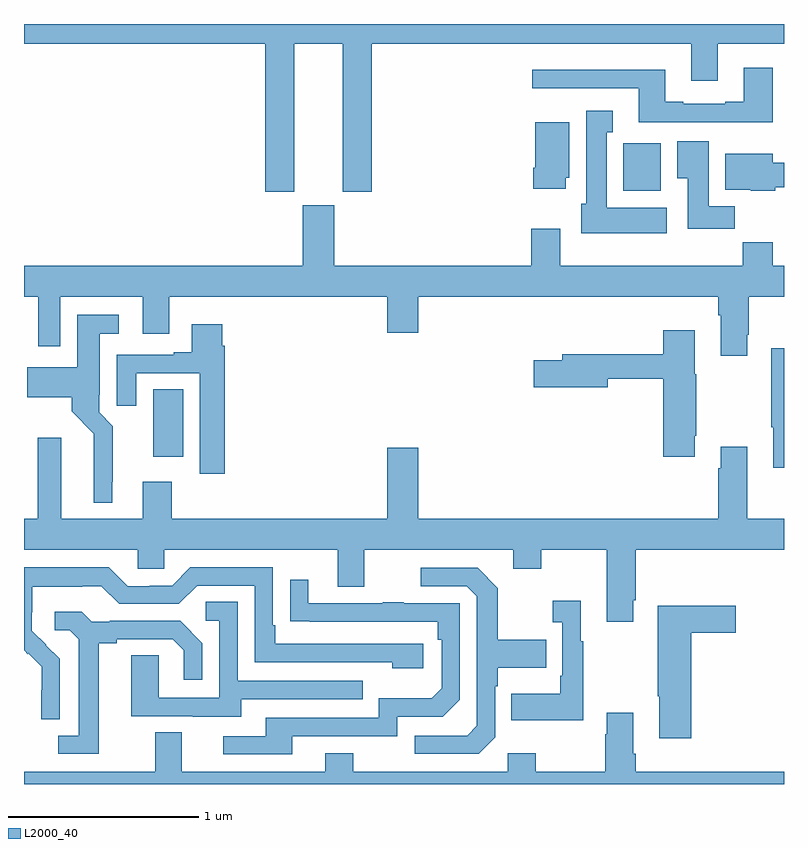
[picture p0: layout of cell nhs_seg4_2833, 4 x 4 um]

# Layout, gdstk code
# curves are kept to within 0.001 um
import gdstk
lib = gdstk.Library(unit=1e-6, precision=1e-09)
def R(c, l, rs):  # rectangles x0, y0, x1, y1
    for r in rs: c.add(gdstk.rectangle(r[:2], r[2:], *l))
def P(c, l, *ps):  # polygons
    for p in ps: c.add(gdstk.Polygon(p, *l))
L2000_40 = (2000, 40)

nhs_seg4_2833 = lib.new_cell('nhs_seg4_2833')
R(nhs_seg4_2833, L2000_40, [(259.679,818.622,259.837,818.978), (262.155,820.022,262.351,820.272)])
P(nhs_seg4_2833, L2000_40, [(260.422,820.796),(260.678,820.796),(260.678,820.017),(260.831,820.017),(260.831,820.796),(262.511,820.796),(262.511,820.602),(262.651,820.602),(262.651,820.796),(263,820.796),(263,820.9),(259,820.9),(259,820.796),(260.27,820.796),(260.27,820.017),(260.422,820.017)],
  [(262.94,820.669),(262.787,820.669),(262.787,820.492),(262.691,820.492),(262.691,820.479),(262.471,820.479),(262.471,820.492),(262.375,820.492),(262.375,820.66),(261.675,820.66),(261.675,820.563),(262.235,820.563),(262.235,820.383),(262.695,820.383),(262.695,820.382),(262.94,820.382)],
  [(262.384,819.934),(262.066,819.934),(262.066,820.331),(262.099,820.331),(262.099,820.444),(261.959,820.444),(261.959,819.954),(261.932,819.954),(261.932,819.8),(262.384,819.8)],
  [(261.85,820.092),(261.871,820.092),(261.871,820.384),(261.692,820.384),(261.692,820.144),(261.68,820.144),(261.68,820.032),(261.85,820.032)],
  [(262.742,819.94),(262.603,819.94),(262.603,820.282),(262.439,820.282),(262.439,820.088),(262.493,820.088),(262.493,819.822),(262.742,819.822)],
  [(262.955,820.041),(263,820.041),(263,820.169),(262.942,820.169),(262.942,820.216),(262.691,820.216),(262.691,820.028),(262.824,820.028),(262.824,820.022),(262.955,820.022)],
  [(262.807,819.265),(262.815,819.265),(262.815,819.464),(263,819.464),(263,819.628),(262.94,819.628),(262.94,819.752),(262.783,819.752),(262.783,819.628),(261.823,819.628),(261.823,819.823),(261.671,819.823),(261.671,819.628),(260.632,819.628),(260.632,819.945),(260.468,819.945),(260.468,819.628),(259,819.628),(259,819.464),(259.075,819.464),(259.075,819.204),(259.191,819.204),(259.191,819.464),(259.625,819.464),(259.625,819.27),(259.765,819.27),(259.765,819.464),(260.912,819.464),(260.912,819.276),(261.076,819.276),(261.076,819.464),(262.655,819.464),(262.655,819.368),(262.667,819.368),(262.667,819.153),(262.807,819.153)],
  [(259.465,818.491),(259.468,818.491),(259.468,818.783),(259.395,818.856),(259.395,818.95),(259.399,818.95),(259.399,819.269),(259.498,819.269),(259.498,819.37),(259.28,819.37),(259.28,819.094),(259.017,819.094),(259.017,818.936),(259.25,818.936),(259.25,818.862),(259.368,818.744),(259.367,818.381),(259.465,818.381)],
  [(260.057,819.206),(260.044,819.206),(260.044,819.319),(259.883,819.319),(259.883,819.172),(259.787,819.172),(259.787,819.159),(259.487,819.159),(259.487,818.892),(259.591,818.892),(259.591,819.063),(259.925,819.063),(259.925,818.532),(260.057,818.532)],
  [(262.531,818.734),(262.539,818.734),(262.539,819.057),(262.531,819.057),(262.531,819.289),(262.364,819.289),(262.364,819.163),(261.833,819.163),(261.833,819.129),(261.684,819.129),(261.684,818.987),(262.072,818.987),(262.072,819.034),(262.364,819.034),(262.364,818.622),(262.531,818.622)],
  [(263,819.193),(262.932,819.193),(262.932,818.777),(262.943,818.777),(262.943,818.565),(263,818.565)],
  [(262.207,817.867),(262.22,817.867),(262.22,818.132),(263,818.132),(263,818.296),(262.807,818.296),(262.807,818.674),(262.667,818.674),(262.667,818.561),(262.655,818.561),(262.655,818.296),(261.076,818.296),(261.076,818.671),(260.912,818.671),(260.912,818.296),(259.778,818.296),(259.778,818.491),(259.625,818.491),(259.625,818.296),(259.195,818.296),(259.195,818.722),(259.073,818.722),(259.073,818.296),(259,818.296),(259,818.132),(259.599,818.132),(259.599,818.034),(259.737,818.034),(259.737,818.132),(260.651,818.132),(260.651,817.938),(260.791,817.938),(260.791,818.132),(261.575,818.132),(261.575,818.033),(261.723,818.033),(261.723,818.132),(262.067,818.132),(262.067,817.755),(262.207,817.755)],
  [(259.188,817.558),(259.042,817.706),(259.042,817.803),(259.044,817.803),(259.044,817.937),(259.307,817.937),(259.307,817.941),(259.407,817.941),(259.5,817.848),(259.815,817.848),(259.911,817.944),(260.214,817.944),(260.214,817.542),(260.939,817.542),(260.939,817.508),(261.1,817.508),(261.1,817.638),(260.323,817.638),(260.323,817.735),(260.31,817.735),(260.31,818.04),(259.875,818.04),(259.779,817.944),(259.661,817.944),(259.661,817.941),(259.545,817.941),(259.445,818.041),(259,818.041),(259,817.604),(259.02,817.584),(259.023,817.587),(259.094,817.517),(259.094,817.394),(259.092,817.394),(259.092,817.24),(259.188,817.24)],
  [(261.48,817.146),(261.48,817.415),(261.493,817.415),(261.493,817.511),(261.749,817.511),(261.749,817.659),(261.493,817.659),(261.493,817.931),(261.387,818.037),(261.087,818.037),(261.087,817.941),(261.33,817.941),(261.384,817.887),(261.384,817.206),(261.333,817.155),(261.057,817.155),(261.057,817.059),(261.393,817.059)],
  [(260.413,817.152),(260.964,817.152),(260.964,817.254),(261.204,817.254),(261.294,817.344),(261.294,817.851),(260.999,817.851),(260.999,817.856),(260.887,817.856),(260.887,817.851),(260.497,817.851),(260.497,817.975),(260.401,817.975),(260.401,817.756),(261.178,817.755),(261.178,817.658),(261.198,817.658),(261.198,817.404),(261.145,817.351),(260.868,817.351),(260.868,817.248),(260.273,817.248),(260.273,817.152),(260.049,817.152),(260.049,817.056),(260.413,817.056)],
  [(261.943,817.651),(261.931,817.651),(261.931,817.864),(261.783,817.864),(261.783,817.751),(261.834,817.751),(261.834,817.471),(261.822,817.471),(261.822,817.375),(261.565,817.375),(261.565,817.235),(261.943,817.235)],
  [(260.143,817.347),(260.783,817.347),(260.783,817.443),(260.124,817.443),(260.124,817.859),(259.956,817.859),(259.956,817.758),(260.028,817.758),(260.028,817.353),(259.71,817.353),(259.71,817.577),(259.565,817.577),(259.565,817.257),(259.889,817.257),(259.889,817.253),(260.143,817.253)],
  [(262.511,817.697),(262.747,817.697),(262.747,817.839),(262.336,817.839),(262.336,817.363),(262.343,817.363),(262.343,817.14),(262.511,817.14)],
  [(259.393,817.64),(259.489,817.64),(259.489,817.662),(259.784,817.662),(259.841,817.605),(259.841,817.449),(259.938,817.449),(259.938,817.642),(259.822,817.758),(259.45,817.758),(259.45,817.755),(259.356,817.755),(259.304,817.807),(259.161,817.807),(259.161,817.71),(259.242,817.71),(259.289,817.663),(259.289,817.155),(259.179,817.155),(259.179,817.059),(259.393,817.059)],
  [(263,816.964),(262.22,816.964),(262.22,817.06),(262.207,817.06),(262.207,817.276),(262.067,817.276),(262.067,817.163),(262.06,817.163),(262.06,816.964),(261.693,816.964),(261.693,817.063),(261.546,817.063),(261.546,816.964),(260.733,816.964),(260.733,817.063),(260.585,817.063),(260.585,816.964),(259.831,816.964),(259.831,817.172),(259.691,817.172),(259.691,816.964),(259,816.964),(259,816.9),(263,816.9)])

lib.write_gds('nhs_seg4_2833.gds')
